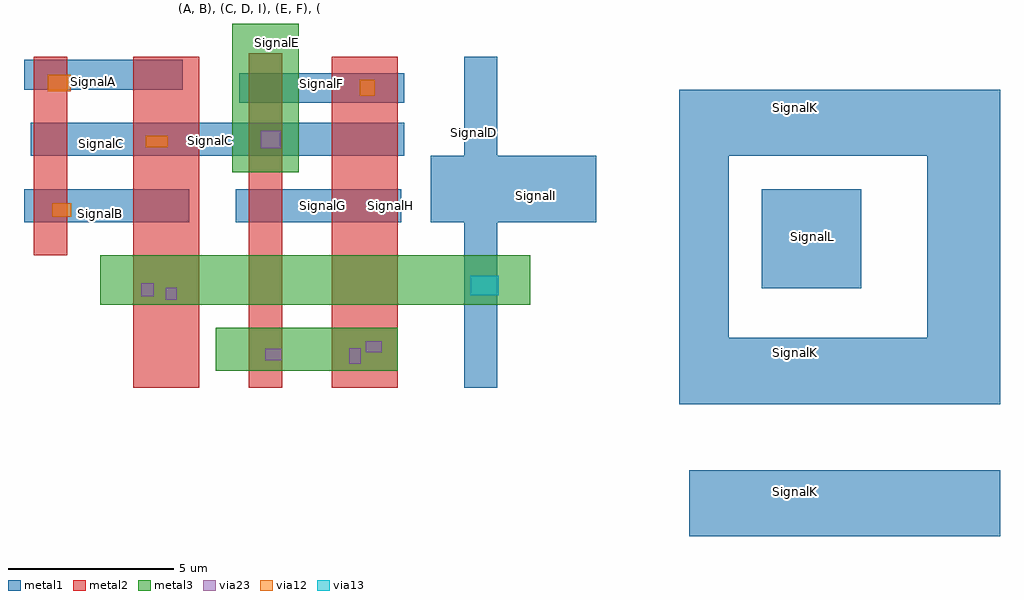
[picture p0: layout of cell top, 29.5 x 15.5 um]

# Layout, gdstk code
import gdstk
lib = gdstk.Library(unit=1e-6, precision=1e-09)
def R(c, l, rs):  # rectangles x0, y0, x1, y1
    for r in rs: c.add(gdstk.rectangle(r[:2], r[2:], *l))
metal1 = (1, 0)
via12 = (1, 2)
via13 = (1, 3)
metal2 = (2, 0)
via23 = (2, 3)
metal3 = (3, 0)

top = lib.new_cell('top')
R(top, metal1, [(18.8,-12.5,28.2,-10.5), (18.5,-8.5,20,1), (18.6,-8.5,28,-6.5), (26,-8.5,28.2,1), (12,-8,13,2), (21,-5,24,-2), (-1.3,-3,3.7,-2), (5.1,-3,10.1,-2), (11,-3,16,-1), (-1.1,-1,10.2,0), (18.5,-1,28,1), (5.2,0.6,10.2,1.5), (-1.3,1,3.5,1.9)])
R(top, via12, [(-0.45,-2.834,0.132,-2.436), (2.383,-0.741,3.045,-0.397), (8.845,0.821,9.295,1.298), (-0.583,0.953,0.106,1.456)])
R(top, via13, [(12.195,-5.206,13.043,-4.624)])
R(top, metal2, [(2,-8,4,2), (5.5,-8,6.5,2.1), (8,-8,10,2), (-1,-4,0,2)])
R(top, via23, [(8.527,-7.282,8.871,-6.806), (5.985,-7.177,6.488,-6.832), (9.03,-6.938,9.507,-6.594), (2.992,-5.349,3.31,-4.979), (2.251,-5.243,2.622,-4.846), (5.852,-0.768,6.462,-0.238)])
R(top, metal3, [(4.5,-7.5,10,-6.2), (1,-5.5,14,-4), (5,-1.5,7,3)])
top.add(gdstk.Label('SignalK', (22.016,-11.137), layer=1, texttype=0))
top.add(gdstk.Label('SignalK', (22.016,-6.937), layer=1, texttype=0))
top.add(gdstk.Label('SignalK', (22.016,0.463), layer=1, texttype=0))
top.add(gdstk.Label('SignalA', (0.794,1.245), layer=1, texttype=0))
top.add(gdstk.Label('SignalL', (22.52,-3.427), layer=1, texttype=0))
top.add(gdstk.Label('SignalF', (7.691,1.18), layer=1, texttype=0))
top.add(gdstk.Label('SignalD', (12.288,-0.291), layer=1, texttype=0))
top.add(gdstk.Label('SignalG', (7.733,-2.489), layer=1, texttype=0))
top.add(gdstk.Label('SignalB', (1.006,-2.754), layer=1, texttype=0))
top.add(gdstk.Label('SignalH', (9.772,-2.489), layer=1, texttype=0))
top.add(gdstk.Label('SignalI', (14.194,-2.204), layer=1, texttype=0))
top.add(gdstk.Label('SignalC', (1.033,-0.636), layer=1, texttype=0))
top.add(gdstk.Label('SignalC', (4.333,-0.536), layer=1, texttype=0))
top.add(gdstk.Label('SignalE', (6.356,2.436), layer=3, texttype=0))
top.add(gdstk.Label('(A, B), (C, D, I), (E, F), (G, H), (K), (L)', (5.551,3.511), layer=10, texttype=10))

lib.write_gds('top.gds')
